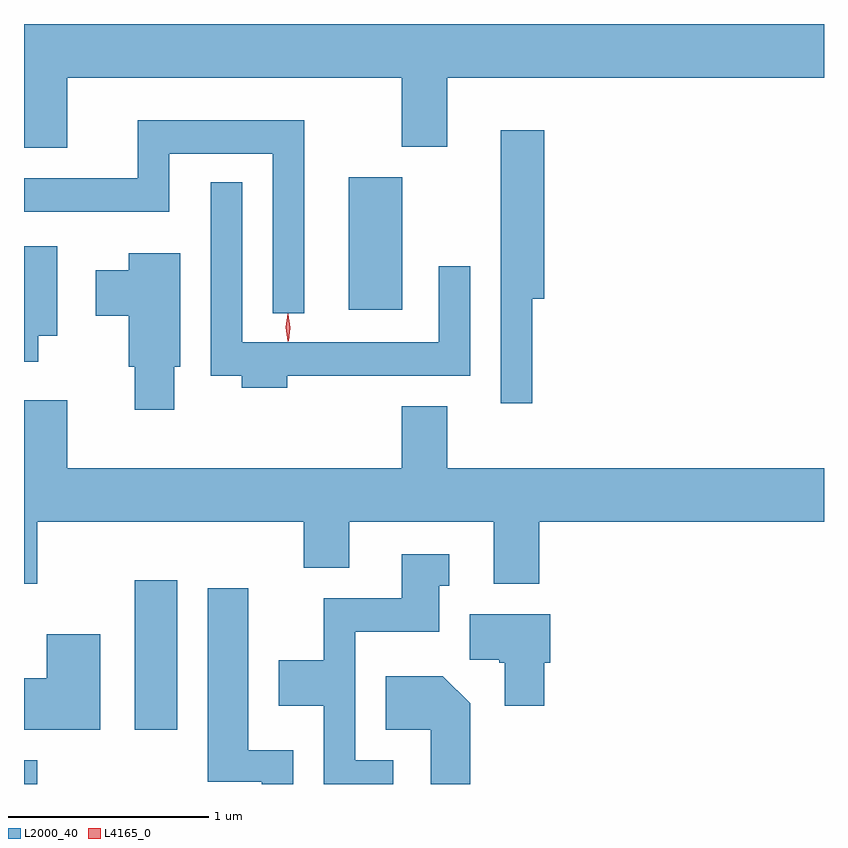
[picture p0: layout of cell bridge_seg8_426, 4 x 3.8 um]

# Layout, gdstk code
import gdstk
lib = gdstk.Library(unit=1e-6, precision=1e-09)
def R(c, l, rs):  # rectangles x0, y0, x1, y1
    for r in rs: c.add(gdstk.rectangle(r[:2], r[2:], *l))
def P(c, l, *ps):  # polygons
    for p in ps: c.add(gdstk.Polygon(p, *l))
L2000_40 = (2000, 40)
L4165_0 = (4165, 0)

bridge_seg8_426 = lib.new_cell('bridge_seg8_426')
R(bridge_seg8_426, L2000_40, [(879.263,1848.424,879.329,1848.544), (879.816,1848.696,880.029,1849.444), (880.886,1850.796,881.154,1851.459)])
P(bridge_seg8_426, L2000_40, [(879.263,1851.606),(879.479,1851.606),(879.479,1851.956),(881.151,1851.956),(881.151,1851.611),(881.379,1851.611),(881.379,1851.956),(883.263,1851.956),(883.263,1852.224),(879.263,1852.224)],
  [(880.664,1851.744),(879.831,1851.744),(879.831,1851.454),(879.263,1851.454),(879.263,1851.286),(879.989,1851.286),(879.989,1851.576),(880.506,1851.576),(880.506,1850.778),(880.664,1850.778)],
  [(881.804,1850.851),(881.864,1850.851),(881.864,1851.694),(881.646,1851.694),(881.646,1850.328),(881.804,1850.328)],
  [(880.579,1850.466),(881.494,1850.466),(881.494,1851.013),(881.336,1851.013),(881.336,1850.634),(880.354,1850.634),(880.354,1851.433),(880.196,1851.433),(880.196,1850.466),(880.351,1850.466),(880.351,1850.406),(880.579,1850.406)],
  [(879.334,1850.666),(879.429,1850.666),(879.429,1851.114),(879.263,1851.114),(879.263,1850.536),(879.334,1850.536)],
  [(880.014,1850.511),(880.044,1850.511),(880.044,1851.079),(879.786,1851.079),(879.786,1850.994),(879.621,1850.994),(879.621,1850.766),(879.786,1850.766),(879.786,1850.511),(879.816,1850.511),(879.816,1850.296),(880.014,1850.296)],
  [(879.329,1849.736),(880.661,1849.736),(880.661,1849.506),(880.889,1849.506),(880.889,1849.736),(881.611,1849.736),(881.611,1849.426),(881.839,1849.426),(881.839,1849.736),(883.263,1849.736),(883.263,1850.004),(881.379,1850.004),(881.379,1850.314),(881.151,1850.314),(881.151,1850.004),(879.479,1850.004),(879.479,1850.344),(879.263,1850.344),(879.263,1849.426),(879.329,1849.426)],
  [(881.108,1848.544),(880.919,1848.544),(880.919,1849.186),(881.339,1849.186),(881.339,1849.416),(881.388,1849.416),(881.388,1849.574),(881.151,1849.574),(881.151,1849.354),(880.761,1849.354),(880.761,1849.044),(880.536,1849.044),(880.536,1848.816),(880.761,1848.816),(880.761,1848.424),(881.108,1848.424)],
  [(880.609,1848.594),(880.384,1848.594),(880.384,1849.404),(880.181,1849.404),(880.181,1848.436),(880.451,1848.436),(880.451,1848.424),(880.609,1848.424)],
  [(881.864,1849.031),(881.894,1849.031),(881.894,1849.274),(881.491,1849.274),(881.491,1849.046),(881.64,1849.046),(881.64,1849.031),(881.666,1849.031),(881.666,1848.816),(881.864,1848.816)],
  [(879.644,1849.174),(879.376,1849.174),(879.376,1848.954),(879.263,1848.954),(879.263,1848.696),(879.644,1848.696)],
  [(881.494,1848.827),(881.357,1848.964),(881.071,1848.964),(881.071,1848.696),(881.296,1848.696),(881.296,1848.424),(881.494,1848.424)])
P(bridge_seg8_426, L4165_0, [(880.582,1850.637),(880.582,1850.637),(880.572,1850.707),(880.582,1850.776),(880.582,1850.776),(880.583,1850.776),(880.592,1850.707),(880.583,1850.637)],
  [(880.585,1850.639),(880.585,1850.64),(880.575,1850.706),(880.584,1850.772),(880.585,1850.773),(880.585,1850.772),(880.595,1850.706),(880.586,1850.64)])

lib.write_gds('bridge_seg8_426.gds')
